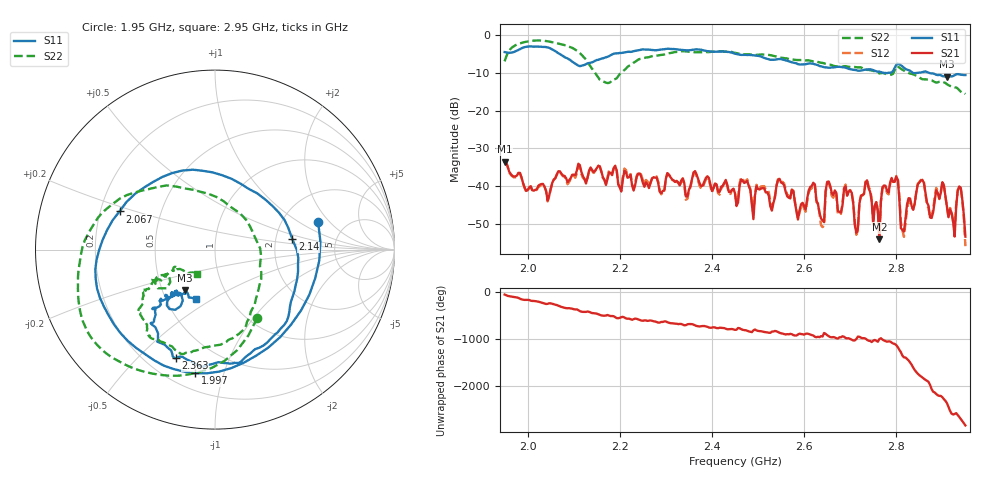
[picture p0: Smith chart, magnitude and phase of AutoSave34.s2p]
!Agilent N9923A: A.07.32
!Date: Thursday, 02 June 2016 23:09:01
!Model: N9923A
!Serial: MY52412257
!GPS Latitude:
!GPS Longitude:
!GPS TimeStamp: 0001-01-01 00:00:00Z
!GPS Seconds Since Last Read: 0
!CHECKSUM:2089643374
!Correction: S11(ON U)S21(ON U)S12(ON U)S22(ON U)
!S2P File: Measurements:S11,S21,S12,S22:
# Hz S DB R 50
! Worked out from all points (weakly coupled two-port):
!   301 points, 1.95 GHz to 2.95 GHz, reference 50 ohm
!   highest |S21| = -33.51 dB at 1.95 GHz (marker M1); lowest = -54.0 dB at 2.763 GHz (marker M2)
!   lowest |S11| = -11.0 dB at 2.91 GHz (marker M3), VSWR 1.78, Z = 32.6 - j16.1 ohm
!   |S11| at or under -10 dB: 2.769809 GHz to 2.783047 GHz (13.24 MHz wide, 0.477 % of centre); 2.83601 GHz to 2.846973 GHz (10.96 MHz wide, 0.386 % of centre); 2.871 GHz to end of sweep
!   |S22| runs from -15.6 to -1.4 dB; largest |S21 - S12| = 0.0015
!   S11 on the Smith chart (normalised r, x): 1.95 GHz: 3.17, +1.49; 1.997 GHz: 0.30, -0.81; 2.067 GHz: 0.28, +0.18; 2.14 GHz: 2.48, +0.36; 2.363 GHz: 0.32, -0.65; 2.95 GHz: 0.70, -0.42
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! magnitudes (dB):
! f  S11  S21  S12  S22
! 1.95 GHz  -4.5  -33.5  -33.5  -7.0
! 1.997 GHz  -3.1  -41.2  -41.4  -1.8
! 2.067 GHz  -4.8  -36.0  -36.2  -2.3
! 2.12 GHz  -8.1  -37.3  -37.8  -5.6
! 2.14 GHz  -7.2  -35.7  -36.0  -9.0
! 2.287 GHz  -3.9  -41.5  -41.2  -5.3
! 2.363 GHz  -3.8  -36.0  -36.5  -4.6
! 2.453 GHz  -5.0  -45.2  -44.5  -4.8
! 2.62 GHz  -7.6  -39.1  -39.4  -7.0
! 2.64 GHz  -8.4  -49.0  -50.8  -7.4
! 2.7 GHz  -9.1  -41.1  -41.0  -8.5
! 2.713 GHz  -9.3  -52.3  -52.8  -8.5
! 2.737 GHz  -9.2  -38.4  -38.2  -9.2
! 2.763 GHz  -9.7  -54.0  -53.4  -10.1
! 2.783 GHz  -10.0  -41.6  -42.1  -10.5
! 2.803 GHz  -7.6  -38.3  -38.0  -8.4
! 2.817 GHz  -8.7  -52.0  -53.3  -9.4
! 2.853 GHz  -9.9  -38.5  -38.3  -11.5
! 2.91 GHz  -11.0  -45.3  -45.5  -13.0
! 2.927 GHz  -10.6  -53.3  -51.4  -13.9
! 2.94 GHz  -10.5  -40.4  -40.6  -15.0
! 2.95 GHz  -10.6  -53.3  -55.8  -15.6
